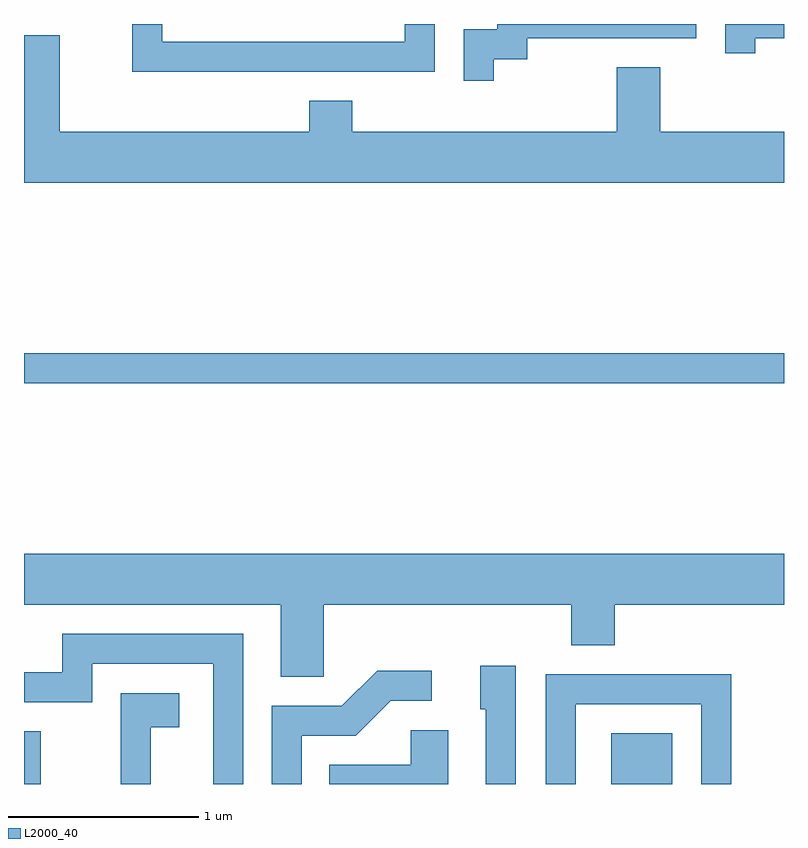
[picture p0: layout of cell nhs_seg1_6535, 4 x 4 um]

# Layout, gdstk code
import gdstk
lib = gdstk.Library(unit=1e-6, precision=1e-09)
def R(c, l, rs):  # rectangles x0, y0, x1, y1
    for r in rs: c.add(gdstk.rectangle(r[:2], r[2:], *l))
def P(c, l, *ps):  # polygons
    for p in ps: c.add(gdstk.Polygon(p, *l))
L2000_40 = (2000, 40)

nhs_seg1_6535 = lib.new_cell('nhs_seg1_6535')
R(nhs_seg1_6535, L2000_40, [(381.611,929.712,381.699,929.989), (384.701,929.712,385.024,929.979), (381.611,931.821,385.611,931.979)])
P(nhs_seg1_6535, L2000_40, [(385.459,933.636),(385.611,933.636),(385.611,933.712),(385.301,933.712),(385.301,933.558),(385.459,933.558)],
  [(384.084,933.526),(384.259,933.526),(384.259,933.636),(385.149,933.636),(385.149,933.712),(384.101,933.712),(384.101,933.684),(383.926,933.684),(383.926,933.413),(384.084,933.413)],
  [(383.774,933.712),(383.616,933.712),(383.616,933.619),(382.339,933.619),(382.339,933.712),(382.181,933.712),(382.181,933.461),(383.774,933.461)],
  [(385.611,933.144),(384.959,933.144),(384.959,933.484),(384.731,933.484),(384.731,933.144),(383.339,933.144),(383.339,933.309),(383.111,933.309),(383.111,933.144),(381.799,933.144),(381.799,933.654),(381.611,933.654),(381.611,932.876),(385.611,932.876)],
  [(383.189,930.656),(384.491,930.656),(384.491,930.441),(384.719,930.441),(384.719,930.656),(385.611,930.656),(385.611,930.924),(381.611,930.924),(381.611,930.656),(382.961,930.656),(382.961,930.276),(383.189,930.276)],
  [(382.764,930.504),(381.811,930.504),(381.811,930.299),(381.611,930.299),(381.611,930.141),(381.969,930.141),(381.969,930.346),(382.606,930.346),(382.606,929.712),(382.764,929.712)],
  [(384.199,930.334),(384.011,930.334),(384.011,930.106),(384.041,930.106),(384.041,929.712),(384.199,929.712)],
  [(383.074,929.966),(383.357,929.966),(383.542,930.151),(383.758,930.151),(383.758,930.309),(383.469,930.309),(383.284,930.124),(382.916,930.124),(382.916,929.712),(383.074,929.712)],
  [(384.514,930.131),(385.176,930.131),(385.176,929.712),(385.334,929.712),(385.334,930.289),(384.356,930.289),(384.356,929.712),(384.514,929.712)],
  [(382.279,930.011),(382.429,930.011),(382.429,930.189),(382.121,930.189),(382.121,929.712),(382.279,929.712)],
  [(383.844,929.994),(383.646,929.994),(383.646,929.814),(383.218,929.814),(383.218,929.712),(383.844,929.712)])

lib.write_gds('nhs_seg1_6535.gds')
